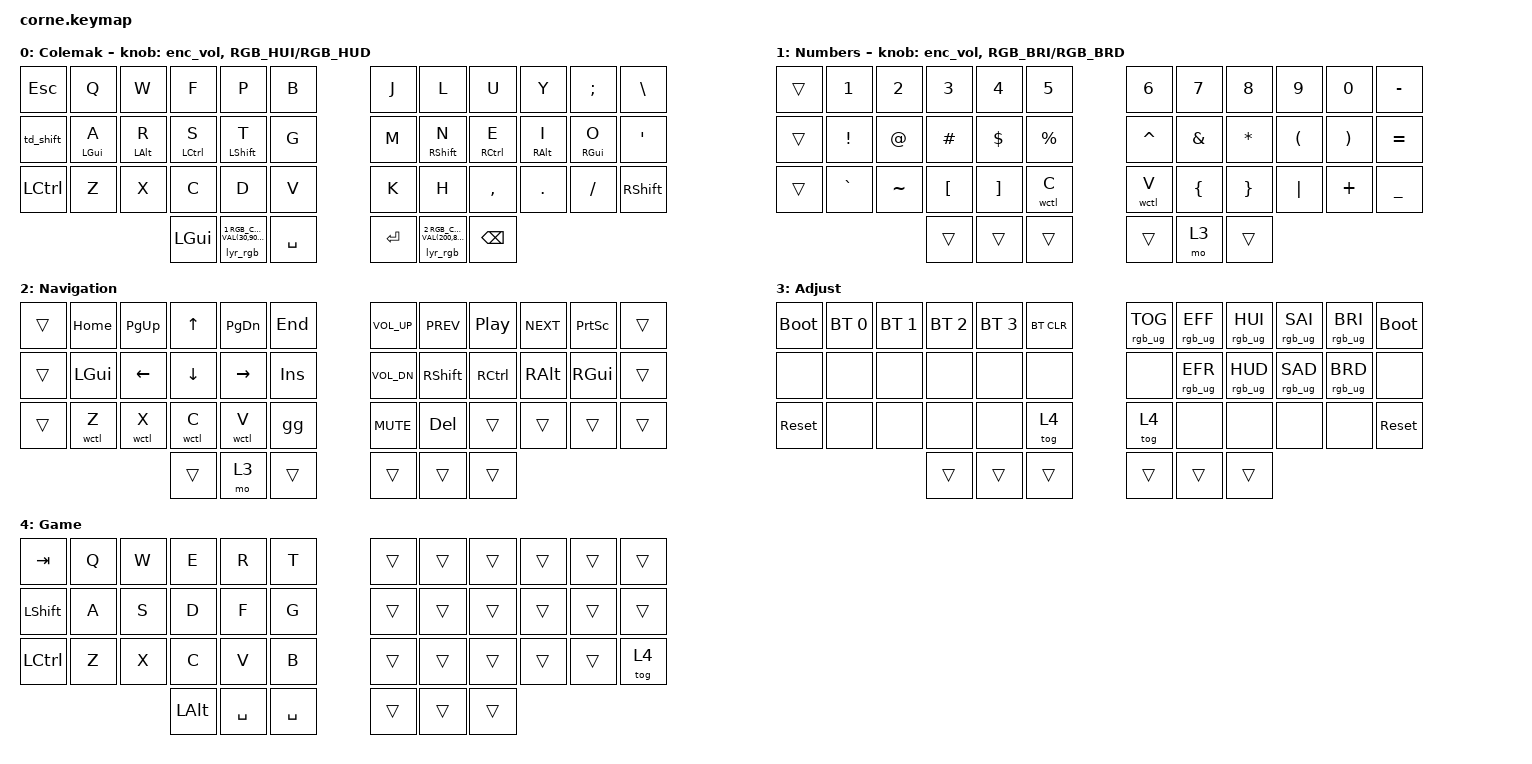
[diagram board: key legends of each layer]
// Sample Corne (42 keys, two encoders) keymap for the ZMK Editor tests.
// Colemak-DH base with home row mods, numbers and navigation layers, an
// adjust layer reached through both, and a plain gaming layer.
// Written in the multi-line, leading-comma style some configs use.

#include <behaviors.dtsi>
#include <dt-bindings/zmk/bt.h>
#include <dt-bindings/zmk/keys.h>
#include <dt-bindings/zmk/rgb.h>

&sk {
  /delete-property/ ignore-modifiers;
};

/ {
  combos {
    compatible = "zmk,combos";

    escape {
      bindings = <&kp ESC>;
      key-positions = <1 2>;
    };
    ent {
      bindings = <&kp RET>;
      key-positions = <20 21>;
    };
    bspc {
      bindings = <&kp BSPC>;
      key-positions = <9 10>;
    };
    del {
      bindings = <&kp DEL>;
      key-positions = <33 34>;
      layers = <0 4>;
    };
    tab_combo {
      bindings = <&kp TAB>;
      key-positions = <14 15>;
      timeout-ms = <40>;
    };
    capsword {
      bindings = <&caps_word>;
      key-positions = <16 19>;
    };
    boot_combo {
      bindings = <&bootloader>;
      key-positions = <0 11>;
      layers = <3>;
    };
  };

  macros {
    gg: good_game {
      compatible = "zmk,behavior-macro";
      #binding-cells = <0>;
      bindings = <&kp G &kp G &kp SPACE>;
    };
    lyr_rgb: layer_with_color {
      compatible = "zmk,behavior-macro-two-param";
      #binding-cells = <2>;
      wait-ms = <0>;
      tap-ms = <0>;
      bindings
        = <&macro_param_2to2>
        , <&rgb_ug RGB_COLOR_HSB_CMD MACRO_PLACEHOLDER>
        , <&macro_press>
        , <&macro_param_1to1>
        , <&mo MACRO_PLACEHOLDER>
        , <&macro_pause_for_release>
        , <&macro_release>
        , <&macro_param_1to1>
        , <&mo MACRO_PLACEHOLDER>
        ;
    };
    wctl: with_ctrl {
      compatible = "zmk,behavior-macro-one-param";
      #binding-cells = <1>;
      bindings
        = <&macro_press>
        , <&kp LCTRL>
        , <&macro_tap>
        , <&macro_param_1to1>
        , <&kp MACRO_PLACEHOLDER>
        , <&macro_release>
        , <&kp LCTRL>
        ;
    };
  };

  behaviors {
    hrm_l: home_row_mod_left {
      compatible = "zmk,behavior-hold-tap";
      #binding-cells = <2>;
      bindings = <&kp>, <&kp>;
      flavor = "balanced";
      tapping-term-ms = <220>;
      quick-tap-ms = <150>;
      hold-trigger-key-positions = <6 7 8 9 10 11 18 19 20 21 22 23 30 31 32 33 34 35 39 40 41>;
    };
    hrm_r: home_row_mod_right {
      compatible = "zmk,behavior-hold-tap";
      #binding-cells = <2>;
      bindings = <&kp>, <&kp>;
      flavor = "balanced";
      tapping-term-ms = <220>;
      quick-tap-ms = <150>;
      hold-trigger-key-positions = <0 1 2 3 4 5 12 13 14 15 16 17 24 25 26 27 28 29 36 37 38>;
    };
    td_shift: shift_or_caps {
      compatible = "zmk,behavior-tap-dance";
      #binding-cells = <0>;
      tapping-term-ms = <180>;
      bindings = <&kp LSHFT>, <&caps_word>;
    };
    enc_vol: encoder_volume {
      compatible = "zmk,behavior-sensor-rotate";
      #sensor-binding-cells = <0>;
      bindings = <&kp C_VOL_UP>, <&kp C_VOL_DN>;
    };
    enc_rgb: encoder_lighting {
      compatible = "zmk,behavior-sensor-rotate-var";
      #sensor-binding-cells = <2>;
      bindings = <&rgb_ug>, <&rgb_ug>;
    };
  };

  conditional_layers {
    compatible = "zmk,conditional-layers";

    num_nav_adjust {
      if-layers = <1 2>;
      then-layer = <3>;
    };
  };

  keymap {
    compatible = "zmk,keymap";

    base {
      display-name = "Colemak";
      bindings = <
        &kp ESC       &kp Q          &kp W          &kp F          &kp P          &kp B                                &kp J        &kp L          &kp U          &kp Y          &kp SEMI       &kp BSLH
        &td_shift     &hrm_l LGUI A  &hrm_l LALT R  &hrm_l LCTRL S &hrm_l LSHFT T &kp G                                &kp M        &hrm_r RSHFT N &hrm_r RCTRL E &hrm_r RALT I  &hrm_r RGUI O  &kp SQT
        &kp LCTRL     &kp Z          &kp X          &kp C          &kp D          &kp V                                &kp K        &kp H          &kp COMMA      &kp DOT        &kp FSLH       &kp RSHFT
                                                    &kp LGUI       &lyr_rgb 1 RGB_COLOR_HSB_VAL(30,90,60) &kp SPACE    &kp RET      &lyr_rgb 2 RGB_COLOR_HSB_VAL(200,80,60) &kp BSPC
      >;

      sensor-bindings = <&enc_vol>, <&enc_rgb RGB_HUI RGB_HUD>;
    };

    num {
      display-name = "Numbers";
      bindings = <
        &trans        &kp N1         &kp N2         &kp N3         &kp N4         &kp N5                               &kp N6       &kp N7         &kp N8         &kp N9         &kp N0         &kp MINUS
        &trans        &kp EXCL       &kp AT         &kp HASH       &kp DLLR       &kp PRCNT                            &kp CARET    &kp AMPS       &kp STAR       &kp LPAR       &kp RPAR       &kp EQUAL
        &trans        &kp GRAVE      &kp TILDE      &kp LBKT       &kp RBKT       &wctl C                              &wctl V      &kp LBRC       &kp RBRC       &kp PIPE       &kp PLUS       &kp UNDER
                                                    &trans         &trans         &trans                               &trans       &mo 3          &trans
      >;

      sensor-bindings = <&enc_vol>, <&enc_rgb RGB_BRI RGB_BRD>;
    };

    nav {
      display-name = "Navigation";
      bindings = <
        &trans        &kp HOME       &kp PG_UP      &kp UP         &kp PG_DN      &kp END                              &kp C_VOL_UP &kp C_PREV     &kp C_PP       &kp C_NEXT     &kp PSCRN      &trans
        &trans        &kp LGUI       &kp LEFT       &kp DOWN       &kp RIGHT      &kp INS                              &kp C_VOL_DN &kp RSHFT      &kp RCTRL      &kp RALT       &kp RGUI       &trans
        &trans        &wctl Z        &wctl X        &wctl C        &wctl V        &gg                                  &kp C_MUTE   &kp DEL        &trans         &trans         &trans         &trans
                                                    &trans         &mo 3          &trans                               &trans       &trans         &trans
      >;
    };

    adjust {
      display-name = "Adjust";
      bindings = <
        &bootloader   &bt BT_SEL 0   &bt BT_SEL 1   &bt BT_SEL 2   &bt BT_SEL 3   &bt BT_CLR                           &rgb_ug RGB_TOG &rgb_ug RGB_EFF &rgb_ug RGB_HUI &rgb_ug RGB_SAI &rgb_ug RGB_BRI &bootloader
        &none         &none          &none          &none          &none          &none                                &none        &rgb_ug RGB_EFR &rgb_ug RGB_HUD &rgb_ug RGB_SAD &rgb_ug RGB_BRD &none
        &sys_reset    &none          &none          &none          &none          &tog 4                               &tog 4       &none          &none          &none          &none          &sys_reset
                                                    &trans         &trans         &trans                               &trans       &trans         &trans
      >;
    };

    game {
      display-name = "Game";
      bindings = <
        &kp TAB       &kp Q          &kp W          &kp E          &kp R          &kp T                                &trans       &trans         &trans         &trans         &trans         &trans
        &kp LSHFT     &kp A          &kp S          &kp D          &kp F          &kp G                                &trans       &trans         &trans         &trans         &trans         &trans
        &kp LCTRL     &kp Z          &kp X          &kp C          &kp V          &kp B                                &trans       &trans         &trans         &trans         &trans         &tog 4
                                                    &kp LALT       &kp SPACE      &kp SPACE                            &trans       &trans         &trans
      >;
    };
  };
};
